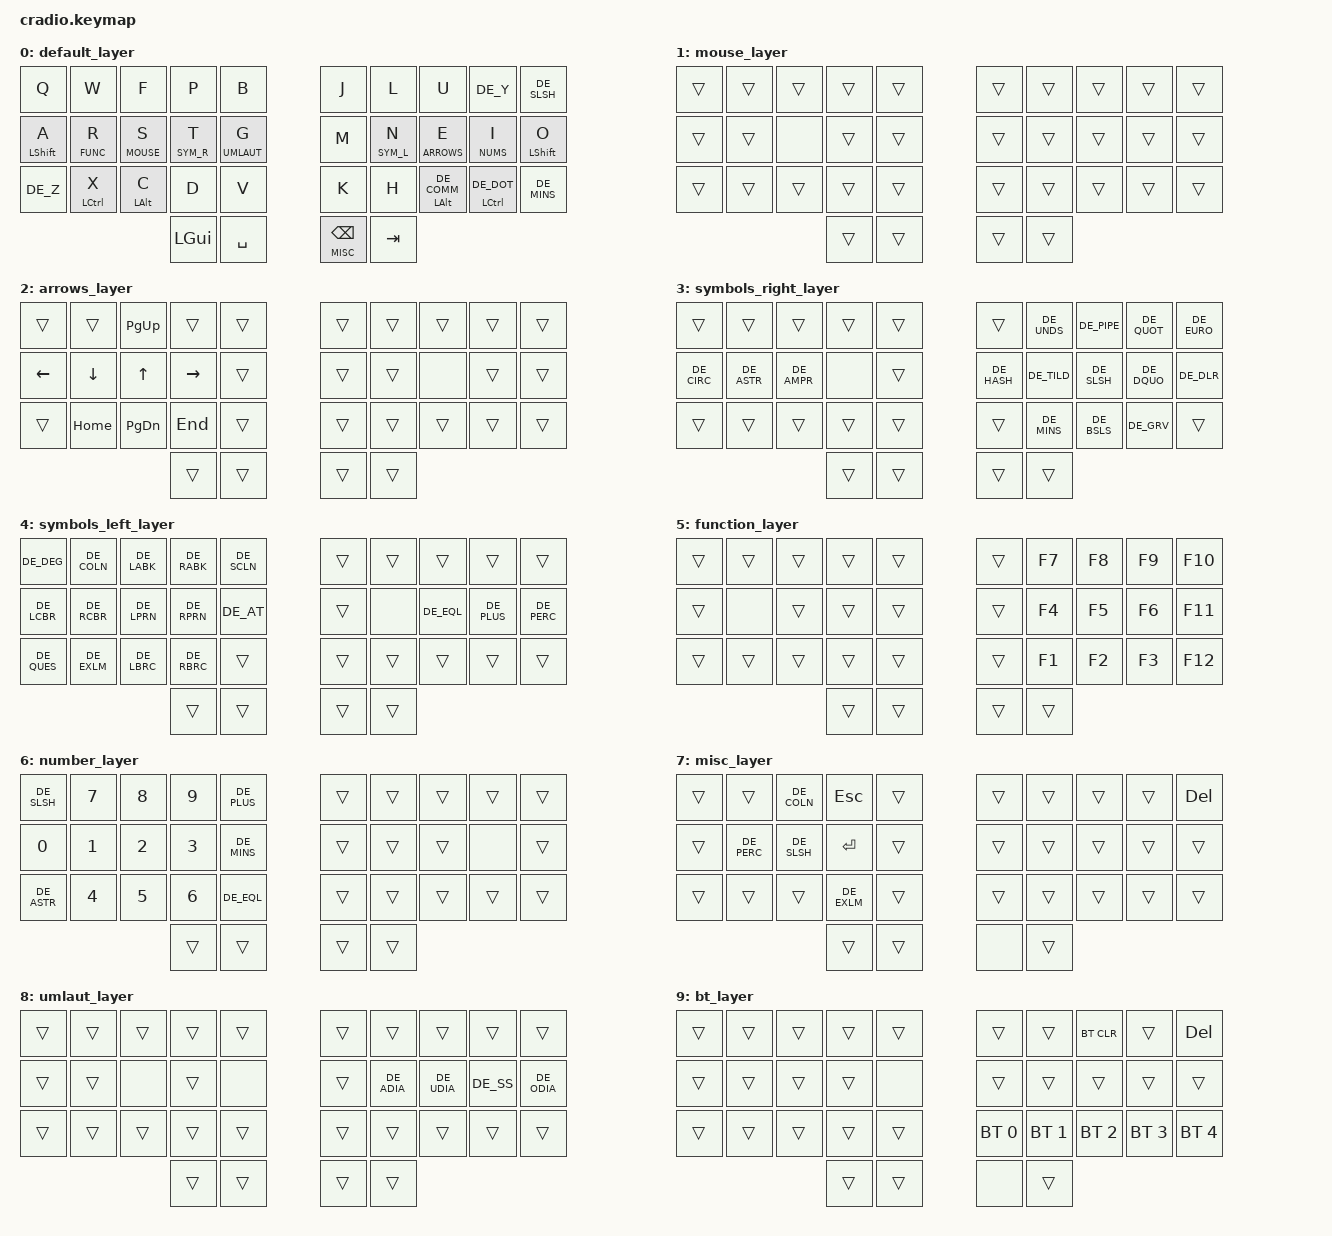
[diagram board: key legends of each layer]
/*
 * Copyright (c) 2022 The ZMK Contributors
 *
 * SPDX-License-Identifier: MIT
 */

#include <behaviors.dtsi>
#include <dt-bindings/zmk/keys.h>
#include <dt-bindings/zmk/bt.h>
#include "german_keys.h"


#define BASE 0
#define MOUSE 1
#define ARROWS 2
#define SYM_R 3
#define SYM_L 4
#define FUNC 5
#define NUMS 6
#define MISC 7
#define UMLAUT 8
#define BT 9


&mt {
  flavor = "tap-preferred";
  tapping_term_ms = <200>;
};

/ {
  conditional_layers {
    compatible = "zmk,conditional-layers";
    tri_layer {
      if-layers = <MISC UMLAUT>;
        then-layer = <BT>;
    };
  };
};

/ {

  keymap {
    compatible = "zmk,keymap";

    // Default layer using Colemak-DH
    default_layer {
      bindings = <
        &kp Q           &kp W         &kp F         &kp P         &kp B               &kp J           &kp L         &kp U               &kp DE_Y            &kp DE_SLSH
        &mt LSHIFT A    &lt FUNC R    &lt MOUSE S   &lt SYM_R T   &lt UMLAUT G        &kp M           &lt SYM_L N   &lt ARROWS E        &lt NUMS I          &mt LSHIFT O
        &kp DE_Z        &mt LCTRL X   &mt LALT C    &kp D         &kp V               &kp K           &kp H         &mt LALT DE_COMM    &mt LCTRL DE_DOT    &kp DE_MINS
                                                    &kp LGUI      &kp SPACE           &lt MISC BSPC   &kp TAB
      >;
    };

    // Layer containing all mouse movements (under development)
    mouse_layer {
      bindings = <
        &trans &trans &trans &trans &trans          &trans &trans &trans &trans &trans
        &trans &trans &none  &trans &trans          &trans &trans &trans &trans &trans
        &trans &trans &trans &trans &trans          &trans &trans &trans &trans &trans
                             &trans &trans          &trans &trans
      >;
    };

    // Arrows, home, end, page up and page down
    arrows_layer {
      bindings = <
        &trans      &trans      &kp PG_UP   &trans      &trans          &trans &trans &trans &trans &trans
        &kp LEFT    &kp DOWN    &kp UP      &kp RIGHT   &trans          &trans &trans &none  &trans &trans
        &trans      &kp HOME    &kp PG_DN   &kp END     &trans          &trans &trans &trans &trans &trans
                                &trans      &trans                      &trans &trans
      >;
    };

    // Symbols accesible by the right hand (~/|"'`\-_ etc.)
    symbols_right_layer {
      bindings = <
        &trans        &trans        &trans        &trans  &trans          &trans        &kp DE_UNDS   &kp DE_PIPE   &kp DE_QUOT   &kp DE_EURO
        &kp DE_CIRC   &kp DE_ASTR   &kp DE_AMPR   &none   &trans          &kp DE_HASH   &kp DE_TILD   &kp DE_SLSH   &kp DE_DQUO   &kp DE_DLR
        &trans        &trans        &trans        &trans  &trans          &trans        &kp DE_MINS   &kp DE_BSLS   &kp DE_GRV    &trans
                                                  &trans  &trans          &trans        &trans
      >;
    };

    // Symbols accessible by the left hand (°:<>;{}()@?![]=+%)
    symbols_left_layer {
      bindings = <
        &kp DE_DEG    &kp DE_COLN   &kp DE_LABK   &kp DE_RABK   &kp DE_SCLN           &trans &trans &trans        &trans        &trans
        &kp DE_LCBR   &kp DE_RCBR   &kp DE_LPRN   &kp DE_RPRN   &kp DE_AT             &trans &none  &kp DE_EQL    &kp DE_PLUS   &kp DE_PERC
        &kp DE_QUES   &kp DE_EXLM   &kp DE_LBRC   &kp DE_RBRC   &trans                &trans &trans &trans        &trans        &trans
                                                  &trans        &trans                &trans &trans
      >;
    };

    // All function keys 1-12
    function_layer {
      bindings = <
        &trans &trans &trans &trans &trans          &trans &kp F7   &kp F8    &kp F9    &kp F10
        &trans &none  &trans &trans &trans          &trans &kp F4   &kp F5    &kp F6    &kp F11
        &trans &trans &trans &trans &trans          &trans &kp F1   &kp F2    &kp F3    &kp F12
                             &trans &trans          &trans &trans
      >;
    };

    // Numer layer with some symbols
    number_layer {
      bindings = <
        &kp DE_SLSH   &kp N7 &kp N8 &kp N9    &kp DE_PLUS         &trans &trans &trans &trans &trans
        &kp N0        &kp N1 &kp N2 &kp N3    &kp DE_MINS         &trans &trans &trans &none  &trans
        &kp DE_ASTR   &kp N4 &kp N5 &kp N6    &kp DE_EQL          &trans &trans &trans &trans &trans
                                    &trans    &trans              &trans &trans
      >;
    };

    // Misc layer
    misc_layer {
      bindings = <
        &trans &trans         &kp DE_COLN   &kp ESC       &trans          &trans          &trans          &trans          &trans          &kp DEL
        &trans &kp DE_PERC    &kp DE_SLSH   &kp RET       &trans          &trans          &trans          &trans          &trans          &trans
        &trans &trans         &trans        &kp DE_EXLM   &trans          &trans          &trans          &trans          &trans          &trans
                                            &trans        &trans          &none           &trans
      >;
    };

    // Umlaut layer containing the german umlaute äüßö
    umlaut_layer {
      bindings = <
        &trans &trans &trans &trans &trans          &trans &trans         &trans        &trans      &trans
        &trans &trans &none  &trans &none           &trans &kp DE_ADIA    &kp DE_UDIA   &kp DE_SS   &kp DE_ODIA
        &trans &trans &trans &trans &trans          &trans &trans         &trans        &trans      &trans
                             &trans &trans          &trans &trans
      >;
    };

    // Bluetooth layer
    bt_layer {
      bindings = <
        &trans &trans &trans &trans &trans          &trans          &trans          &bt BT_CLR      &trans          &kp DEL
        &trans &trans &trans &trans &none           &trans          &trans          &trans          &trans          &trans
        &trans &trans &trans &trans &trans          &bt BT_SEL 0    &bt BT_SEL 1    &bt BT_SEL 2    &bt BT_SEL 3    &bt BT_SEL 4
                             &trans &trans          &none           &trans
      >;
    };
  };
};
